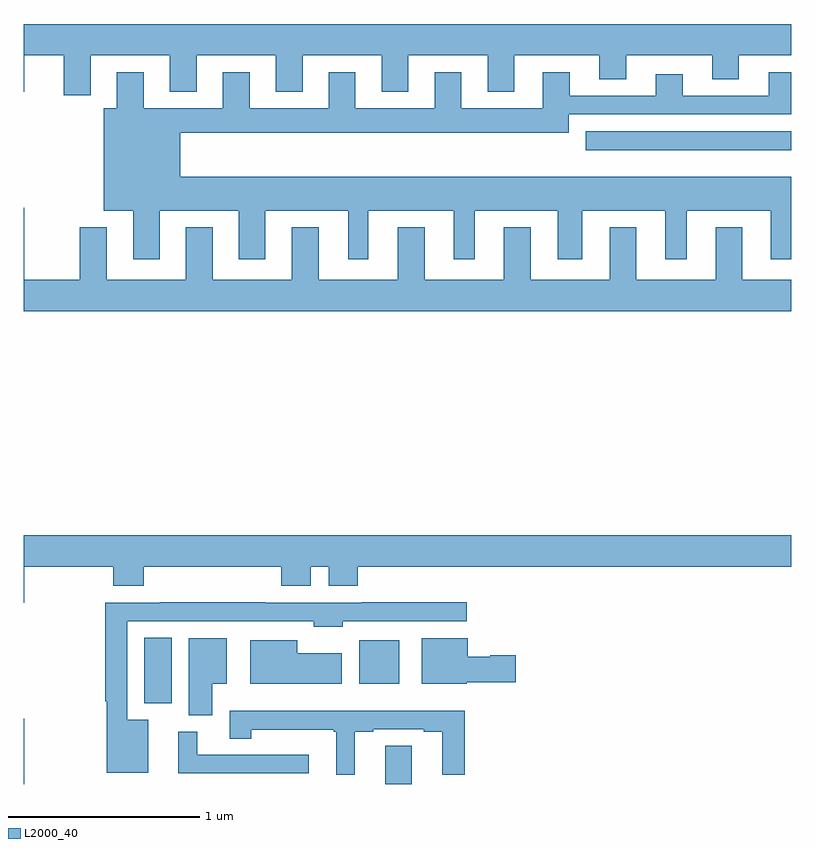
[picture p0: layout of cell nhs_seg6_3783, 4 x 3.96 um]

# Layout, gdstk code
import gdstk
lib = gdstk.Library(unit=1e-6, precision=1e-09)
def R(c, l, rs):  # rectangles x0, y0, x1, y1
    for r in rs: c.add(gdstk.rectangle(r[:2], r[2:], *l))
def P(c, l, *ps):  # polygons
    for p in ps: c.add(gdstk.Polygon(p, *l))
L2000_40 = (2000, 40)

nhs_seg6_3783 = lib.new_cell('nhs_seg6_3783')
R(nhs_seg6_3783, L2000_40, [(333,983.5,333.004,983.839), (334.883,983.5,335.023,983.699), (333.629,983.921,333.772,984.263), (334.748,984.023,334.957,984.25), (335.928,986.801,337,986.902)])
P(nhs_seg6_3783, L2000_40, [(333.349,987.296),(333.761,987.296),(333.761,987.107),(333.901,987.107),(333.901,987.296),(334.313,987.296),(334.313,987.107),(334.453,987.107),(334.453,987.296),(334.865,987.296),(334.865,987.107),(335.005,987.107),(335.005,987.296),(335.417,987.296),(335.417,987.107),(335.557,987.107),(335.557,987.296),(335.999,987.296),(335.999,987.172),(336.139,987.172),(336.139,987.296),(336.587,987.296),(336.587,987.172),(336.727,987.172),(336.727,987.296),(337,987.296),(337,987.46),(333,987.46),(333,987.108),(333.004,987.108),(333.004,987.296),(333.209,987.296),(333.209,987.09),(333.349,987.09)],
  [(333.709,986.486),(334.121,986.486),(334.121,986.235),(334.258,986.235),(334.258,986.486),(334.691,986.486),(334.691,986.235),(334.795,986.235),(334.795,986.486),(335.24,986.486),(335.24,986.235),(335.35,986.235),(335.35,986.486),(335.783,986.486),(335.783,986.235),(335.911,986.235),(335.911,986.486),(336.344,986.486),(336.344,986.235),(336.454,986.235),(336.454,986.486),(336.893,986.486),(336.893,986.235),(337,986.235),(337,986.665),(333.817,986.665),(333.817,986.894),(335.839,986.894),(335.839,986.991),(337,986.991),(337,987.208),(336.881,987.208),(336.881,987.087),(336.433,987.087),(336.433,987.199),(336.293,987.199),(336.293,987.087),(335.845,987.087),(335.845,987.208),(335.705,987.208),(335.705,987.022),(335.281,987.022),(335.281,987.208),(335.141,987.208),(335.141,987.022),(334.729,987.022),(334.729,987.208),(334.589,987.208),(334.589,987.022),(334.177,987.022),(334.177,987.208),(334.037,987.208),(334.037,987.022),(333.625,987.022),(333.625,987.208),(333.485,987.208),(333.485,987.022),(333.416,987.022),(333.416,986.486),(333.572,986.486),(333.572,986.235),(333.709,986.235)],
  [(337,986.128),(336.745,986.128),(336.745,986.401),(336.605,986.401),(336.605,986.128),(336.193,986.128),(336.193,986.401),(336.053,986.401),(336.053,986.128),(335.641,986.128),(335.641,986.401),(335.501,986.401),(335.501,986.128),(335.089,986.128),(335.089,986.401),(334.949,986.401),(334.949,986.128),(334.537,986.128),(334.537,986.401),(334.397,986.401),(334.397,986.128),(333.985,986.128),(333.985,986.401),(333.845,986.401),(333.845,986.128),(333.433,986.128),(333.433,986.401),(333.293,986.401),(333.293,986.128),(333.004,986.128),(333.004,986.503),(333,986.503),(333,985.964),(337,985.964)],
  [(333.004,984.632),(333.466,984.632),(333.466,984.533),(333.626,984.533),(333.626,984.632),(334.343,984.632),(334.343,984.533),(334.495,984.533),(334.495,984.632),(334.589,984.632),(334.589,984.533),(334.742,984.533),(334.742,984.632),(337,984.632),(337,984.796),(333,984.796),(333,984.444),(333.004,984.444)],
  [(333.649,983.836),(333.54,983.836),(333.54,984.348),(334.512,984.348),(334.512,984.32),(334.662,984.32),(334.662,984.348),(335.308,984.348),(335.308,984.446),(334.762,984.446),(334.762,984.444),(334.259,984.444),(334.259,984.446),(333.709,984.446),(333.709,984.444),(333.424,984.444),(333.424,983.932),(333.432,983.932),(333.432,983.558),(333.649,983.558)],
  [(333.982,984.023),(334.057,984.023),(334.057,984.259),(333.86,984.259),(333.86,983.857),(333.982,983.857)],
  [(335.31,984.029),(335.563,984.029),(335.563,984.171),(335.43,984.171),(335.43,984.163),(335.314,984.163),(335.314,984.259),(335.075,984.259),(335.075,984.023),(335.31,984.023)],
  [(334.657,984.181),(334.426,984.181),(334.426,984.25),(334.181,984.25),(334.181,984.023),(334.657,984.023)],
  [(334.726,983.772),(334.822,983.772),(334.822,983.784),(335.084,983.784),(335.084,983.772),(335.18,983.772),(335.18,983.549),(335.297,983.549),(335.297,983.881),(334.074,983.881),(334.074,983.737),(334.187,983.737),(334.187,983.783),(334.617,983.783),(334.617,983.772),(334.628,983.772),(334.628,983.549),(334.726,983.549)],
  [(334.486,983.652),(333.904,983.652),(333.904,983.772),(333.806,983.772),(333.806,983.556),(334.486,983.556)])

lib.write_gds('nhs_seg6_3783.gds')
